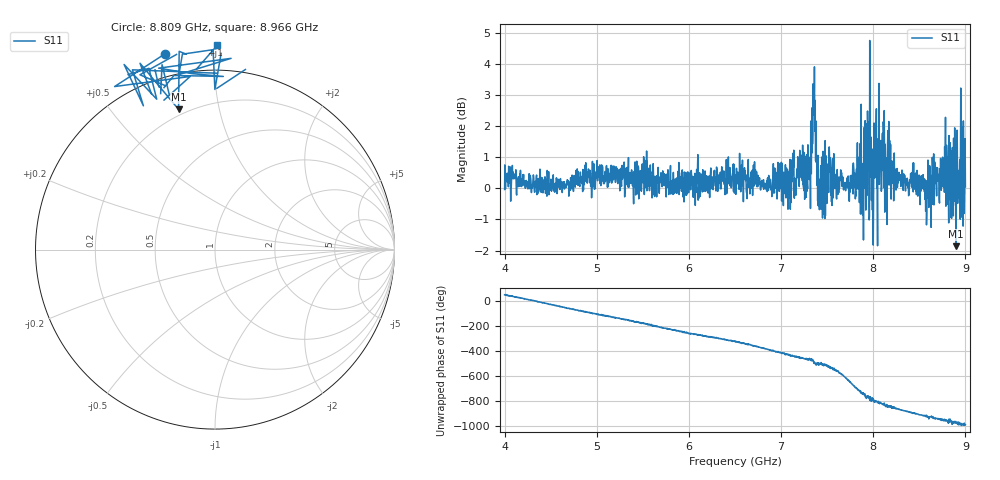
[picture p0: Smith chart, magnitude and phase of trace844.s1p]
! Created with skrf 1.8.0 (http://scikit-rf.org).
# Hz S RI R 50.0
!freq ReS11 ImS11
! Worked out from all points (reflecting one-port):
!   1601 points, 4 GHz to 9 GHz, reference 50 ohm
!   lowest |S11| = -1.9 dB at 8.9 GHz (marker M1), VSWR 9.38, Z = 8.46 + j38 ohm
!   phase of S11 starts at 52 deg and turns -1045 deg over the sweep
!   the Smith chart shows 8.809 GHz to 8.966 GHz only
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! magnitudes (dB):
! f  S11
! 4 GHz  0.0
! 4.625 GHz  -0.1
! 5.25 GHz  -0.1
! 5.875 GHz  0.3
! 6.5 GHz  0.3
! 7.125 GHz  0.5
! 7.294 GHz  0.9
! 7.347 GHz  3.4
! 7.369 GHz  2.8
! 7.4 GHz  1.1
! 7.428 GHz  0.6
! 7.509 GHz  0.3
! 7.75 GHz  -0.1
! 7.897 GHz  0.6
! 7.928 GHz  2.1
! 7.962 GHz  4.8
! 7.997 GHz  -0.5
! 8.047 GHz  -1.8
! 8.069 GHz  1.0
! 8.088 GHz  -0.1
! 8.178 GHz  1.5
! 8.216 GHz  0.6
! 8.375 GHz  0.2
! 8.578 GHz  -1.2
! 8.775 GHz  1.3
! 8.9 GHz  -1.9
! 8.972 GHz  0.9
! 9 GHz  0.1
